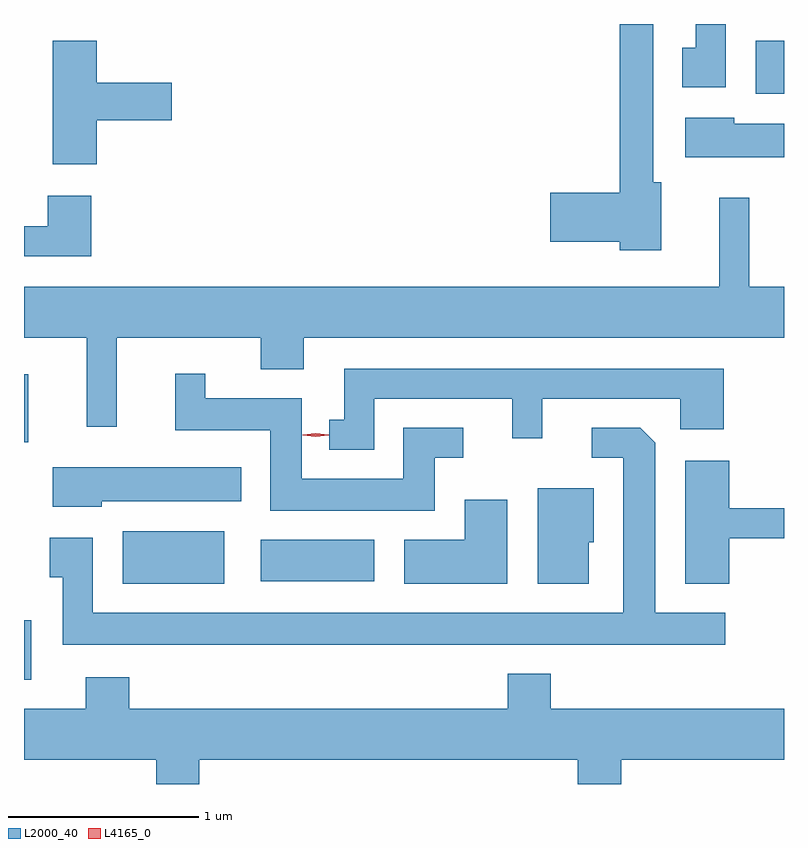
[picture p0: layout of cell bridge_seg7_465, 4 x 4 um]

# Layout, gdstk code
import gdstk
lib = gdstk.Library(unit=1e-6, precision=1e-09)
def R(c, l, rs):  # rectangles x0, y0, x1, y1
    for r in rs: c.add(gdstk.rectangle(r[:2], r[2:], *l))
def P(c, l, *ps):  # polygons
    for p in ps: c.add(gdstk.Polygon(p, *l))
L2000_40 = (2000, 40)
L4165_0 = (4165, 0)

bridge_seg7_465 = lib.new_cell('bridge_seg7_465')
R(bridge_seg7_465, L2000_40, [(1449.806,1708.076,1449.844,1708.389), (1450.326,1708.581,1450.859,1708.859), (1451.051,1708.596,1451.649,1708.814), (1449.806,1709.326,1449.829,1709.684), (1453.656,1711.161,1453.806,1711.439)])
P(bridge_seg7_465, L2000_40, [(1453.499,1711.528),(1453.341,1711.528),(1453.341,1711.404),(1453.271,1711.404),(1453.271,1711.196),(1453.499,1711.196)],
  [(1453.159,1710.694),(1453.119,1710.694),(1453.119,1711.528),(1452.941,1711.528),(1452.941,1710.639),(1452.576,1710.639),(1452.576,1710.381),(1452.941,1710.381),(1452.941,1710.336),(1453.159,1710.336)],
  [(1450.189,1711.021),(1450.584,1711.021),(1450.584,1711.219),(1450.189,1711.219),(1450.189,1711.439),(1449.956,1711.439),(1449.956,1710.791),(1450.189,1710.791)],
  [(1453.806,1711.004),(1453.544,1711.004),(1453.544,1711.034),(1453.286,1711.034),(1453.286,1710.826),(1453.806,1710.826)],
  [(1450.159,1710.624),(1449.931,1710.624),(1449.931,1710.464),(1449.806,1710.464),(1449.806,1710.306),(1450.159,1710.306)],
  [(1450.294,1709.876),(1451.051,1709.876),(1451.051,1709.711),(1451.279,1709.711),(1451.279,1709.876),(1453.806,1709.876),(1453.806,1710.144),(1453.624,1710.144),(1453.624,1710.613),(1453.466,1710.613),(1453.466,1710.144),(1449.806,1710.144),(1449.806,1709.876),(1450.136,1709.876),(1450.136,1709.408),(1450.294,1709.408)],
  [(1451.649,1709.556),(1452.376,1709.556),(1452.376,1709.348),(1452.534,1709.348),(1452.534,1709.556),(1453.261,1709.556),(1453.261,1709.396),(1453.489,1709.396),(1453.489,1709.714),(1451.491,1709.714),(1451.491,1709.444),(1451.413,1709.444),(1451.413,1709.286),(1451.649,1709.286)],
  [(1451.969,1709.246),(1452.118,1709.246),(1452.118,1709.404),(1451.801,1709.404),(1451.801,1709.134),(1451.269,1709.134),(1451.269,1709.559),(1450.759,1709.559),(1450.759,1709.688),(1450.601,1709.688),(1450.601,1709.391),(1451.101,1709.391),(1451.101,1708.966),(1451.969,1708.966)],
  [(1453.498,1708.429),(1453.129,1708.429),(1453.129,1709.324),(1453.049,1709.404),(1452.793,1709.404),(1452.793,1709.246),(1452.961,1709.246),(1452.961,1708.429),(1450.169,1708.429),(1450.169,1708.824),(1449.941,1708.824),(1449.941,1708.616),(1450.011,1708.616),(1450.011,1708.261),(1453.498,1708.261)],
  [(1453.519,1708.821),(1453.806,1708.821),(1453.806,1708.979),(1453.519,1708.979),(1453.519,1709.229),(1453.286,1709.229),(1453.286,1708.581),(1453.519,1708.581)],
  [(1450.214,1709.016),(1450.949,1709.016),(1450.949,1709.194),(1449.956,1709.194),(1449.956,1708.986),(1450.214,1708.986)],
  [(1452.779,1708.801),(1452.804,1708.801),(1452.804,1709.084),(1452.511,1709.084),(1452.511,1708.581),(1452.779,1708.581)],
  [(1452.349,1709.024),(1452.126,1709.024),(1452.126,1708.814),(1451.806,1708.814),(1451.806,1708.581),(1452.349,1708.581)],
  [(1450.729,1707.656),(1452.721,1707.656),(1452.721,1707.528),(1452.949,1707.528),(1452.949,1707.656),(1453.806,1707.656),(1453.806,1707.924),(1452.579,1707.924),(1452.579,1708.109),(1452.351,1708.109),(1452.351,1707.924),(1450.359,1707.924),(1450.359,1708.089),(1450.131,1708.089),(1450.131,1707.924),(1449.806,1707.924),(1449.806,1707.656),(1450.501,1707.656),(1450.501,1707.528),(1450.729,1707.528)])
P(bridge_seg7_465, L4165_0, [(1451.341,1709.355),(1451.272,1709.364),(1451.272,1709.364),(1451.272,1709.365),(1451.341,1709.374),(1451.411,1709.366),(1451.411,1709.365),(1451.411,1709.364)])

lib.write_gds('bridge_seg7_465.gds')
